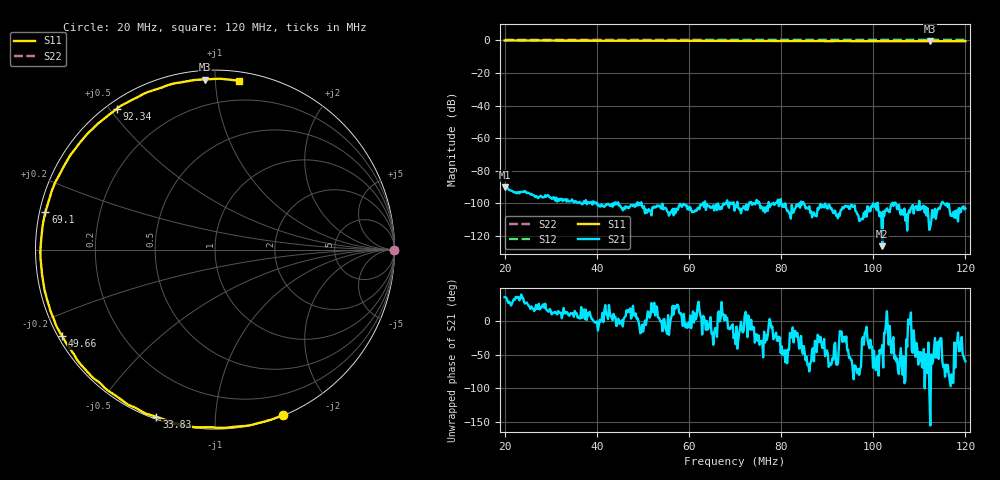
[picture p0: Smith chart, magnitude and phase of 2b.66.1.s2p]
! Anritsu VNA Master:  Model: MS2036C/10/77
! SN:  1601066
! /card0/usr/18may27.balun/252b.66.s2p
! Existing Calibration Information:
! TYPE:  Current Settings,  Active Cal Settings
! TIME:  05/27/2018 12:02:47 PM,  05/27/2018 11:54:56 AM
! INTERNAL TEMP:  50.5 C,  49.3 C
! # POINTS:  500,  500
! START FREQ:  20.000 MHz,  20.000 MHz
! STOP FREQ:  120.000 MHz,  120.000 MHz
! SOURCE POWER:  High,  High
! IFBW:  50 Hz,  50 Hz
! AVG FACTOR:  1 ,  1
! REF PLANE 1:  0 mm,  0 mm
! REF PLANE 2:  0 mm,  0 mm
! CAL TYPE:  Full S11,  Full S11
! CAL METHOD:  SOLT,  SOLT
! CAL LINE TYPE:  Coax,  Coax
! DUT PORT 1:  K-Conn(M),  K-Conn(M)
! DUT PORT 2:  K-Conn(M),  K-Conn(M)
! CAL STATUS:  OK: Accuracy High,  --
# GHZ S DB R 50.0
! FREQ.GHZ  S11DB  S11A  S21DB  S21A  S12DB  S12A  S22DB  S22A
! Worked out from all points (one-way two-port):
!   500 points, 20 MHz to 120 MHz, reference 50 ohm
!   highest |S21| = -90.18 dB at 20 MHz (marker M1); lowest = -126.4 dB at 102 MHz (marker M2)
!   lowest |S11| = -0.5 dB at 112.4 MHz (marker M3), VSWR 38.34, Z = 2.46 + j47 ohm
!   |S11| at or under -10 dB: nowhere
!   |S22| runs from 0.0 to 0.0 dB; largest |S21 - S12| = 1
!   S11 on the Smith chart (normalised r, x): 20 MHz: 0.00, -1.49; 33.83 MHz: 0.01, -0.71; 49.66 MHz: 0.01, -0.26; 69.1 MHz: 0.02, +0.11; 92.34 MHz: 0.03, +0.52; 120 MHz: 0.06, +1.15
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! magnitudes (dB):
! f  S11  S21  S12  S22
! 20 MHz  0.0  -90.2  0.0  0.0
! 23.61 MHz  0.0  -93.2  0.0  0.0
! 27.62 MHz  -0.1  -96.0  0.0  0.0
! 29.62 MHz  0.0  -95.9  0.0  0.0
! 33.83 MHz  -0.1  -98.9  0.0  0.0
! 35.03 MHz  -0.1  -99.6  0.0  0.0
! 36.83 MHz  -0.1  -100.7  0.0  0.0
! 37.64 MHz  -0.1  -98.1  0.0  0.0
! 41.84 MHz  -0.2  -101.6  0.0  0.0
! 43.05 MHz  -0.1  -101.7  0.0  0.0
! 45.85 MHz  -0.1  -102.8  0.0  0.0
! 47.25 MHz  -0.2  -101.8  0.0  0.0
! 49.66 MHz  -0.2  -99.4  0.0  0.0
! 53.47 MHz  -0.2  -101.5  0.0  0.0
! 69.1 MHz  -0.3  -100.2  0.0  0.0
! 70.1 MHz  -0.3  -101.5  0.0  0.0
! 86.73 MHz  -0.4  -108.7  0.0  0.0
! 92.34 MHz  -0.4  -109.2  0.0  0.0
! 102 MHz  -0.4  -126.4  0.0  0.0
! 103.4 MHz  -0.4  -105.2  0.0  0.0
! 112.4 MHz  -0.5  -114.5  0.0  0.0
! 120 MHz  -0.4  -103.2  0.0  0.0
